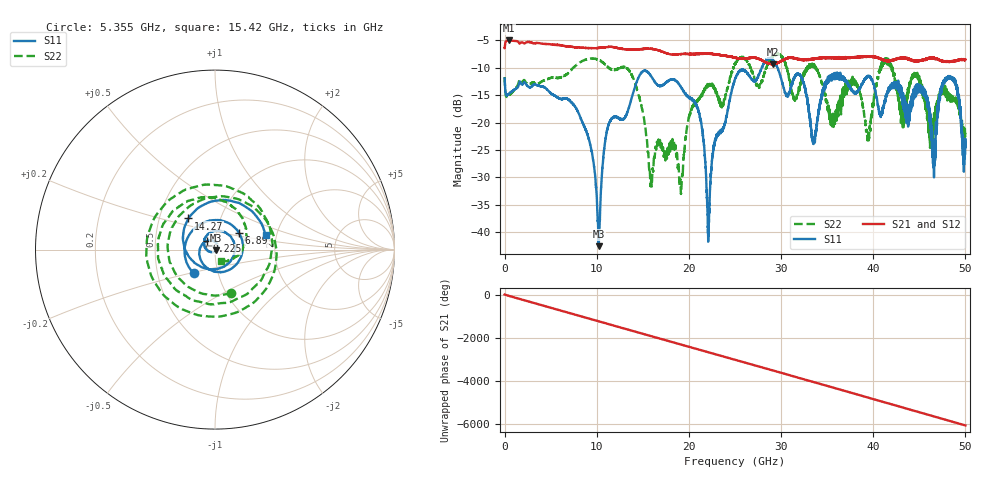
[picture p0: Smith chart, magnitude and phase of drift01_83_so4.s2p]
!Created with skrf (http://scikit-rf.org).
# Hz S RI R 50.0
!freq ReS11 ImS11 ReS21 ImS21 ReS12 ImS12 ReS22 ImS22
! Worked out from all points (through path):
!   10001 points, 300 kHz to 50 GHz, reference 50 ohm
!   highest |S21| = -5.05 dB at 445.3 MHz (marker M1); lowest = -9.4 dB at 29.12 GHz (marker M2)
!   group delay of S21, straight-line fit = 336 ps
!   lowest |S11| = -42.5 dB at 10.21 GHz (marker M3), VSWR 1.02, Z = 50.6 - j0.446 ohm
!   |S11| at or under -10 dB: start of sweep to 27.9 GHz; 29.59508 GHz to 29.59535 GHz (265.3 kHz wide, 0.000896 % of centre); 29.6 GHz to end of sweep
!   |S22| runs from -33.0 to -7.4 dB; largest |S21 - S12| = 0.013
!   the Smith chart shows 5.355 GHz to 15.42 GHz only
!   S11 on the Smith chart (normalised r, x): 5.355 GHz: 0.76, -0.21; 6.89 GHz: 1.29, +0.24; 9.225 GHz: 0.91, +0.09; 14.27 GHz: 0.70, +0.26; 15.42 GHz: 1.76, +0.30
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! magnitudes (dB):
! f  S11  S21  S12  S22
! 300 kHz  -12.0  -6.4  -6.5  -11.7
! 445.3 MHz  -14.8  -5.1  -5.1  -15.1
! 5.355 GHz  -15.0  -5.9  -5.8  -11.8
! 6.89 GHz  -15.8  -6.1  -6.1  -11.0
! 8.335 GHz  -19.5  -6.3  -6.3  -8.9
! 9.225 GHz  -23.7  -6.4  -6.4  -8.4
! 10.21 GHz  -42.5  -6.4  -6.4  -8.6
! 11.23 GHz  -20.6  -6.2  -6.2  -9.9
! 14.27 GHz  -12.8  -6.7  -6.6  -13.4
! 15.42 GHz  -10.6  -6.6  -6.6  -22.7
! 16.67 GHz  -13.3  -6.8  -6.8  -23.3
! 19.15 GHz  -13.6  -7.5  -7.5  -32.9
! 20.86 GHz  -17.1  -7.5  -7.5  -16.1
! 22.12 GHz  -40.6  -7.5  -7.4  -13.3
! 25 GHz  -12.1  -8.2  -8.2  -9.3
! 29.12 GHz  -8.6  -9.4  -9.4  -8.0
! 33.34 GHz  -22.8  -8.5  -8.4  -9.6
! 39.46 GHz  -11.5  -7.9  -8.0  -21.8
! 41.67 GHz  -13.8  -8.7  -8.7  -9.1
! 46.55 GHz  -25.7  -8.2  -8.2  -21.0
! 48.56 GHz  -12.1  -8.8  -8.8  -16.0
! 50 GHz  -24.3  -8.5  -8.6  -22.7
